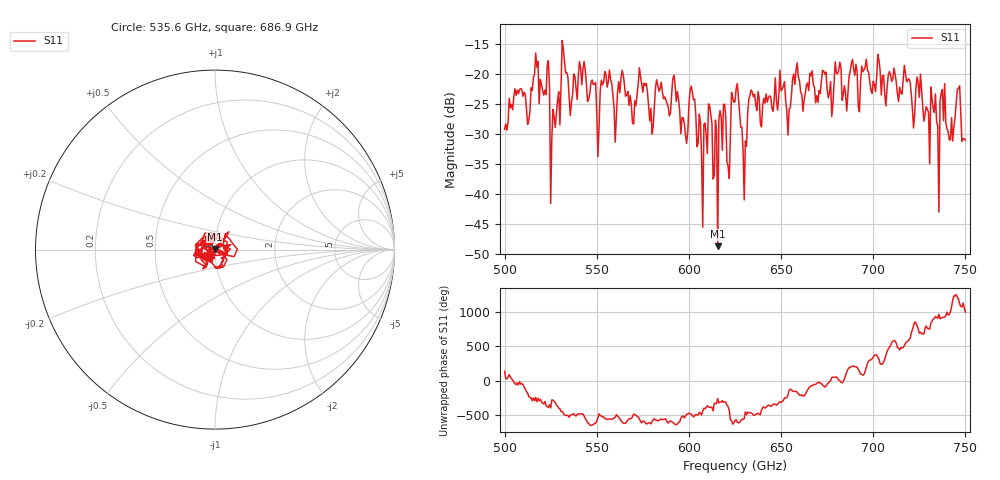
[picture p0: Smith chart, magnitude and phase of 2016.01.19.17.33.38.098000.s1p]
!Created with skrf (http://scikit-rf.org).
# GHz S RI R 50.0
!freq ReS11 ImS11
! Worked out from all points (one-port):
!   401 points, 500 GHz to 750 GHz, reference 50 ohm
!   lowest |S11| = -48.7 dB at 615.6 GHz (marker M1), VSWR 1.01, Z = 49.9 + j0.359 ohm
!   |S11| at or under -10 dB: start of sweep to end of sweep
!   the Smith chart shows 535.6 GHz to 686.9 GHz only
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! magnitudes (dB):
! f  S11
! 500 GHz  -29.2
! 513.1 GHz  -27.7
! 516.9 GHz  -16.5
! 523.1 GHz  -18.6
! 526.2 GHz  -26.0
! 531.2 GHz  -14.5
! 550.6 GHz  -33.8
! 562.5 GHz  -23.2
! 574.4 GHz  -21.7
! 579.4 GHz  -25.8
! 593.8 GHz  -22.9
! 598.1 GHz  -30.2
! 601.9 GHz  -23.1
! 606.2 GHz  -28.1
! 611.2 GHz  -25.4
! 614.4 GHz  -27.7
! 615.6 GHz  -48.7
! 618.1 GHz  -32.7
! 621.2 GHz  -35.4
! 625 GHz  -24.6
! 630 GHz  -41.0
! 633.8 GHz  -22.7
! 656.2 GHz  -20.8
! 687.5 GHz  -19.6
! 718.8 GHz  -21.0
! 734.4 GHz  -27.9
! 746.2 GHz  -22.5
! 750 GHz  -31.1
